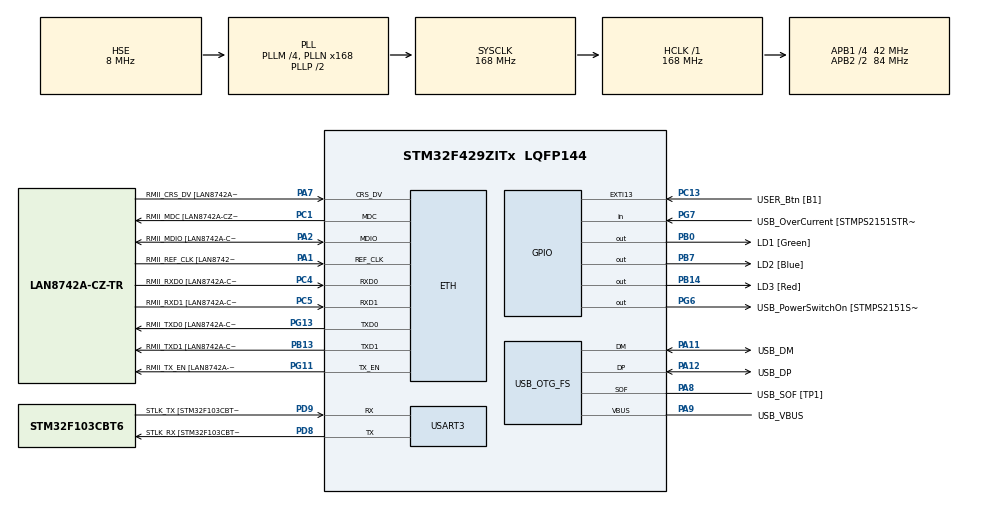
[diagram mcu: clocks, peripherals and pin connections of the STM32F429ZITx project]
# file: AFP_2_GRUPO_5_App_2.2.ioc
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ETH.MediaInterface=HAL_ETH_RMII_MODE
ETH.PHY_Name=LAN8742A_PHY_ADDRESS
ETH.PHY_Value=0
ETH.PhyAddress=0
Mcu.Family=STM32F4
Mcu.Name=STM32F429ZITx
Mcu.Package=LQFP144
NVIC.PriorityGroup=NVIC_PRIORITYGROUP_4
PA1.GPIO_Label=RMII_REF_CLK [LAN8742A-CZ-TR_REFCLK0]
PA1.Mode=RMII
PA1.Signal=ETH_REF_CLK
PA10.GPIO_Label=USB_ID
PA10.Signal=USB_OTG_FS_ID
PA11.GPIO_Label=USB_DM
PA11.Mode=Device_Only
PA11.Signal=USB_OTG_FS_DM
PA12.GPIO_Label=USB_DP
PA12.Mode=Device_Only
PA12.Signal=USB_OTG_FS_DP
PA13.GPIO_Label=TMS
PA13.Mode=Serial_Wire
PA13.Signal=SYS_JTMS-SWDIO
PA14.GPIO_Label=TCK
PA14.Mode=Serial_Wire
PA14.Signal=SYS_JTCK-SWCLK
PA2.GPIO_Label=RMII_MDIO [LAN8742A-CZ-TR_MDIO]
PA2.Mode=RMII
PA2.Signal=ETH_MDIO
PA7.GPIO_Label=RMII_CRS_DV [LAN8742A-CZ-TR_CRS_DV]
PA7.Mode=RMII
PA7.Signal=ETH_CRS_DV
PA8.GPIO_Label=USB_SOF [TP1]
PA8.Mode=Activate_SOF_FS
PA8.Signal=USB_OTG_FS_SOF
PA9.GPIO_Label=USB_VBUS
PA9.Mode=Activate_VBUS
PA9.Signal=USB_OTG_FS_VBUS
PB0.GPIO_Label=LD1 [Green]
PB0.Signal=GPIO_Output
PB13.GPIO_Label=RMII_TXD1 [LAN8742A-CZ-TR_TXD1]
PB13.Mode=RMII
PB13.Signal=ETH_TXD1
PB14.GPIO_Label=LD3 [Red]
PB14.Signal=GPIO_Output
PB7.GPIO_Label=LD2 [Blue]
PB7.Signal=GPIO_Output
PC1.GPIO_Label=RMII_MDC [LAN8742A-CZ-TR_MDC]
PC1.Mode=RMII
PC1.Signal=ETH_MDC
PC13.GPIO_Label=USER_Btn [B1]
PC13.Signal=GPXTI13
PC14/OSC32_IN.Mode=LSE-External-Oscillator
PC14/OSC32_IN.Signal=RCC_OSC32_IN
PC15/OSC32_OUT.Mode=LSE-External-Oscillator
PC15/OSC32_OUT.Signal=RCC_OSC32_OUT
PC4.GPIO_Label=RMII_RXD0 [LAN8742A-CZ-TR_RXD0]
PC4.Mode=RMII
PC4.Signal=ETH_RXD0
PC5.GPIO_Label=RMII_RXD1 [LAN8742A-CZ-TR_RXD1]
PC5.Mode=RMII
PC5.Signal=ETH_RXD1
PD8.GPIO_Label=STLK_RX [STM32F103CBT6_PA3]
PD8.Mode=Asynchronous
PD8.Signal=USART3_TX
PD9.GPIO_Label=STLK_TX [STM32F103CBT6_PA2]
PD9.Mode=Asynchronous
PD9.Signal=USART3_RX
PG11.GPIO_Label=RMII_TX_EN [LAN8742A-CZ-TR_TXEN]
PG11.Mode=RMII
PG11.Signal=ETH_TX_EN
PG13.GPIO_Label=RMII_TXD0 [LAN8742A-CZ-TR_TXD0]
PG13.Mode=RMII
PG13.Signal=ETH_TXD0
PG6.GPIO_Label=USB_PowerSwitchOn [STMPS2151STR_EN]
PG6.Signal=GPIO_Output
PG7.GPIO_Label=USB_OverCurrent [STMPS2151STR_FAULT]
PG7.Signal=GPIO_Input
PH0/OSC_IN.GPIO_Label=MCO [STM32F103CBT6_PA8]
PH0/OSC_IN.Mode=HSE-External-Clock-Source
PH0/OSC_IN.Signal=RCC_OSC_IN
PH1/OSC_OUT.Mode=HSE-External-Clock-Source
PH1/OSC_OUT.Signal=RCC_OSC_OUT
ProjectManager.HeapSize=0x200
ProjectManager.StackSize=0x400
ProjectManager.TargetToolchain=STM32CubeIDE
RCC.48MHZClocksFreq_Value=48000000
RCC.AHBFreq_Value=168000000
RCC.APB1CLKDivider=RCC_HCLK_DIV4
RCC.APB1Freq_Value=42000000
RCC.APB1TimFreq_Value=84000000
RCC.APB2CLKDivider=RCC_HCLK_DIV2
RCC.APB2Freq_Value=84000000
RCC.APB2TimCLKDivider=2
RCC.APB2TimFreq_Value=168000000
RCC.CortexFreq_Value=168000000
RCC.HCLKFreq_Value=168000000
RCC.HSE_VALUE=8000000
RCC.HSI_VALUE=16000000
RCC.PLLM=4
RCC.PLLMUL=RCC_PLL_MUL9
RCC.PLLN=168
RCC.PLLQ=7
RCC.PRESCALERUSB=RCC_USBCLKSOURCE_PLL_DIV1_5
RCC.SYSCLKFreq_VALUE=168000000
RCC.SYSCLKSource=RCC_SYSCLKSOURCE_PLLCLK
RCC.SYSCLKSourceVirtual=RCC_SYSCLKSOURCE_PLLCLK
RCC.USBFreq_Value=48000000
RCC.VCOOutputFreq_Value=336000000
USART3.VirtualMode=VM_ASYNC
USB_OTG_FS.VirtualMode=Device_Only
board=NUCLEO-F429ZI

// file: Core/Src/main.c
/* USER CODE BEGIN Header */
/**
  ******************************************************************************
  * @file           : main.c
  * @brief          : Main program body
  ******************************************************************************
  * @attention
  *
  * Copyright (c) 2024 STMicroelectronics.
  * All rights reserved.
  *
  * This software is licensed under terms that can be found in the LICENSE file
  * in the root directory of this software component.
  * If no LICENSE file comes with this software, it is provided AS-IS.
  *
  ******************************************************************************
  */
/* USER CODE END Header */
#include "main.h"
#include "string.h"
#include <stdbool.h>
#include "API_GPIO.h"

ETH_TxPacketConfig TxConfig;
ETH_DMADescTypeDef  DMARxDscrTab[ETH_RX_DESC_CNT]; /* Ethernet Rx DMA Descriptors */
ETH_DMADescTypeDef  DMATxDscrTab[ETH_TX_DESC_CNT]; /* Ethernet Tx DMA Descriptors */

ETH_HandleTypeDef heth;

UART_HandleTypeDef huart3;

PCD_HandleTypeDef hpcd_USB_OTG_FS;

void SystemClock_Config(void);
void MX_GPIO_Init(void);
void MX_ETH_Init(void);
void MX_USART3_UART_Init(void);
void MX_USB_OTG_FS_PCD_Init(void);

int main(void)
{

	  /* MCU Configuration--------------------------------------------------------*/

	  /* Reset of all peripherals, Initializes the Flash interface and the Systick. */
	  HAL_Init();

	  /* Configure the system clock */
	  SystemClock_Config();

	  /* Initialize all configured peripherals */
	  MX_GPIO_Init();
	  MX_ETH_Init();
	  MX_USART3_UART_Init();
	  MX_USB_OTG_FS_PCD_Init();
	  /* USER CODE BEGIN 2 */
	  uint16_t vector_leds [CANT_LEDS] = {LD1_Pin, LD2_Pin, LD3_Pin};
	  uint16_t sec_actual = 1;
	  /* USER CODE END 2 */

	  /* Infinite loop */
	  while (1)
	   {
	 	  switch (sec_actual){
	 	  case 1:
	 		  sec_actual = secuencia1 (vector_leds);
	 		  break;
	 	  case 2:
	 		  sec_actual = secuencia2 (vector_leds);
	 		  break;
	 		  default:
	 		  for(int j=0;j<CANT_LEDS;j++){
	 			 writeLedOff_GPIO(vector_leds[j]);
	 		  	  }
	 		  break;
	 	  }
	   }
}

void SystemClock_Config(void)
{
  RCC_OscInitTypeDef RCC_OscInitStruct = {0};
  RCC_ClkInitTypeDef RCC_ClkInitStruct = {0};

  /** Configure the main internal regulator output voltage
  */
  __HAL_RCC_PWR_CLK_ENABLE();
  __HAL_PWR_VOLTAGESCALING_CONFIG(PWR_REGULATOR_VOLTAGE_SCALE1);

  /** Initializes the RCC Oscillators according to the specified parameters
  * in the RCC_OscInitTypeDef structure.
  */
  RCC_OscInitStruct.OscillatorType = RCC_OSCILLATORTYPE_HSE;
  RCC_OscInitStruct.HSEState = RCC_HSE_BYPASS;
  RCC_OscInitStruct.PLL.PLLState = RCC_PLL_ON;
  RCC_OscInitStruct.PLL.PLLSource = RCC_PLLSOURCE_HSE;
  RCC_OscInitStruct.PLL.PLLM = 4;
  RCC_OscInitStruct.PLL.PLLN = 168;
  RCC_OscInitStruct.PLL.PLLP = RCC_PLLP_DIV2;
  RCC_OscInitStruct.PLL.PLLQ = 7;
  if (HAL_RCC_OscConfig(&RCC_OscInitStruct) != HAL_OK)
  {
    Error_Handler();
  }

  /** Initializes the CPU, AHB and APB buses clocks
  */
  RCC_ClkInitStruct.ClockType = RCC_CLOCKTYPE_HCLK|RCC_CLOCKTYPE_SYSCLK
                              |RCC_CLOCKTYPE_PCLK1|RCC_CLOCKTYPE_PCLK2;
  RCC_ClkInitStruct.SYSCLKSource = RCC_SYSCLKSOURCE_PLLCLK;
  RCC_ClkInitStruct.AHBCLKDivider = RCC_SYSCLK_DIV1;
  RCC_ClkInitStruct.APB1CLKDivider = RCC_HCLK_DIV4;
  RCC_ClkInitStruct.APB2CLKDivider = RCC_HCLK_DIV2;

  if (HAL_RCC_ClockConfig(&RCC_ClkInitStruct, FLASH_LATENCY_5) != HAL_OK)
  {
    Error_Handler();
  }
}

void MX_ETH_Init(void)
{

   static uint8_t MACAddr[6];

  heth.Instance = ETH;
  MACAddr[0] = 0x00;
  MACAddr[1] = 0x80;
  MACAddr[2] = 0xE1;
  MACAddr[3] = 0x00;
  MACAddr[4] = 0x00;
  MACAddr[5] = 0x00;
  heth.Init.MACAddr = &MACAddr[0];
  heth.Init.MediaInterface = HAL_ETH_RMII_MODE;
  heth.Init.TxDesc = DMATxDscrTab;
  heth.Init.RxDesc = DMARxDscrTab;
  heth.Init.RxBuffLen = 1524;

  if (HAL_ETH_Init(&heth) != HAL_OK)
  {
    Error_Handler();
  }

  memset(&TxConfig, 0 , sizeof(ETH_TxPacketConfig));
  TxConfig.Attributes = ETH_TX_PACKETS_FEATURES_CSUM | ETH_TX_PACKETS_FEATURES_CRCPAD;
  TxConfig.ChecksumCtrl = ETH_CHECKSUM_IPHDR_PAYLOAD_INSERT_PHDR_CALC;
  TxConfig.CRCPadCtrl = ETH_CRC_PAD_INSERT;

}

void MX_USART3_UART_Init(void)
{

  huart3.Instance = USART3;
  huart3.Init.BaudRate = 115200;
  huart3.Init.WordLength = UART_WORDLENGTH_8B;
  huart3.Init.StopBits = UART_STOPBITS_1;
  huart3.Init.Parity = UART_PARITY_NONE;
  huart3.Init.Mode = UART_MODE_TX_RX;
  huart3.Init.HwFlowCtl = UART_HWCONTROL_NONE;
  huart3.Init.OverSampling = UART_OVERSAMPLING_16;
  if (HAL_UART_Init(&huart3) != HAL_OK)
  {
    Error_Handler();
  }

}

void MX_USB_OTG_FS_PCD_Init(void)
{

  hpcd_USB_OTG_FS.Instance = USB_OTG_FS;
  hpcd_USB_OTG_FS.Init.dev_endpoints = 4;
  hpcd_USB_OTG_FS.Init.speed = PCD_SPEED_FULL;
  hpcd_USB_OTG_FS.Init.dma_enable = DISABLE;
  hpcd_USB_OTG_FS.Init.phy_itface = PCD_PHY_EMBEDDED;
  hpcd_USB_OTG_FS.Init.Sof_enable = ENABLE;
  hpcd_USB_OTG_FS.Init.low_power_enable = DISABLE;
  hpcd_USB_OTG_FS.Init.lpm_enable = DISABLE;
  hpcd_USB_OTG_FS.Init.vbus_sensing_enable = ENABLE;
  hpcd_USB_OTG_FS.Init.use_dedicated_ep1 = DISABLE;
  if (HAL_PCD_Init(&hpcd_USB_OTG_FS) != HAL_OK)
  {
    Error_Handler();
  }
}
  /* USER CODE BEGIN USB_OTG_FS_Init 2 */

  uint8_t secuencia1(uint16_t* vector_leds)
  {

	  for(int i=0; i<CANT_LEDS;i++){
	  		/*TIEMPO DE ENCENDIDO*/
	  		for(int tick=0;tick<delay_ms;tick++){
	  			if(readButton_GPIO()){
	  				while(readButton_GPIO()){}; //Antirebote por SW
	  				  for(int j=0;j<CANT_LEDS;j++){
	  					  writeLedOff_GPIO(vector_leds[j]);
	  				  }
	  				return 2;
	  			}
	  			writeLedOn_GPIO(vector_leds[i]);
	  			HAL_Delay(1);
	  		}
	  		/*TIEMPO DE APAGADO*/
	  		for(int tick=0;tick<delay_ms;tick++){
	  			if(readButton_GPIO()){
	  				while(readButton_GPIO()){};
	  				  for(int j=0;j<CANT_LEDS;j++){
	  					  writeLedOff_GPIO(vector_leds[j]);
	  				  }
	  				return 2;
	  			}
	  			writeLedOff_GPIO(vector_leds[i]);
	  			HAL_Delay(1);
	  		}
	  	}
	  	return 1;
	  }

	  uint8_t secuencia2(uint16_t* vector_leds)
	  {
	  	for(int i=(CANT_LEDS-1);i>=0;i--){
	  		/*TIEMPO DE ENCENDIDO*/
	  		for(int tick=0;tick<delay_ms;tick++){
	  			if(readButton_GPIO()){
	  				while(readButton_GPIO() == GPIO_PIN_SET){}; //Antirebote por SW
	  				for(int j=0;j<CANT_LEDS;j++){
	  					writeLedOff_GPIO(vector_leds[j]);
	  				}
	  				return 1;
	  			}
	  			writeLedOn_GPIO(vector_leds[i]);
	  			HAL_Delay(1);
	  		}
	  		/*TIEMPO DE APAGADO*/
	  		for(int tick=0;tick<delay_ms;tick++){
	  			if(readButton_GPIO()){
	  				while(readButton_GPIO()){};
	  				for(int j=0;j<CANT_LEDS;j++){
	  					writeLedOff_GPIO(vector_leds[j]);
	  				}
	  				return 1;
	  			}
	  			writeLedOff_GPIO(vector_leds[i]);
	  			HAL_Delay(1);
	  		}
	  	}
	  	return 2;
	  }
  /* USER CODE END USB_OTG_FS_Init 2 */

void Error_Handler(void)
{
  __disable_irq();
  while (1)
  {
  }
}
